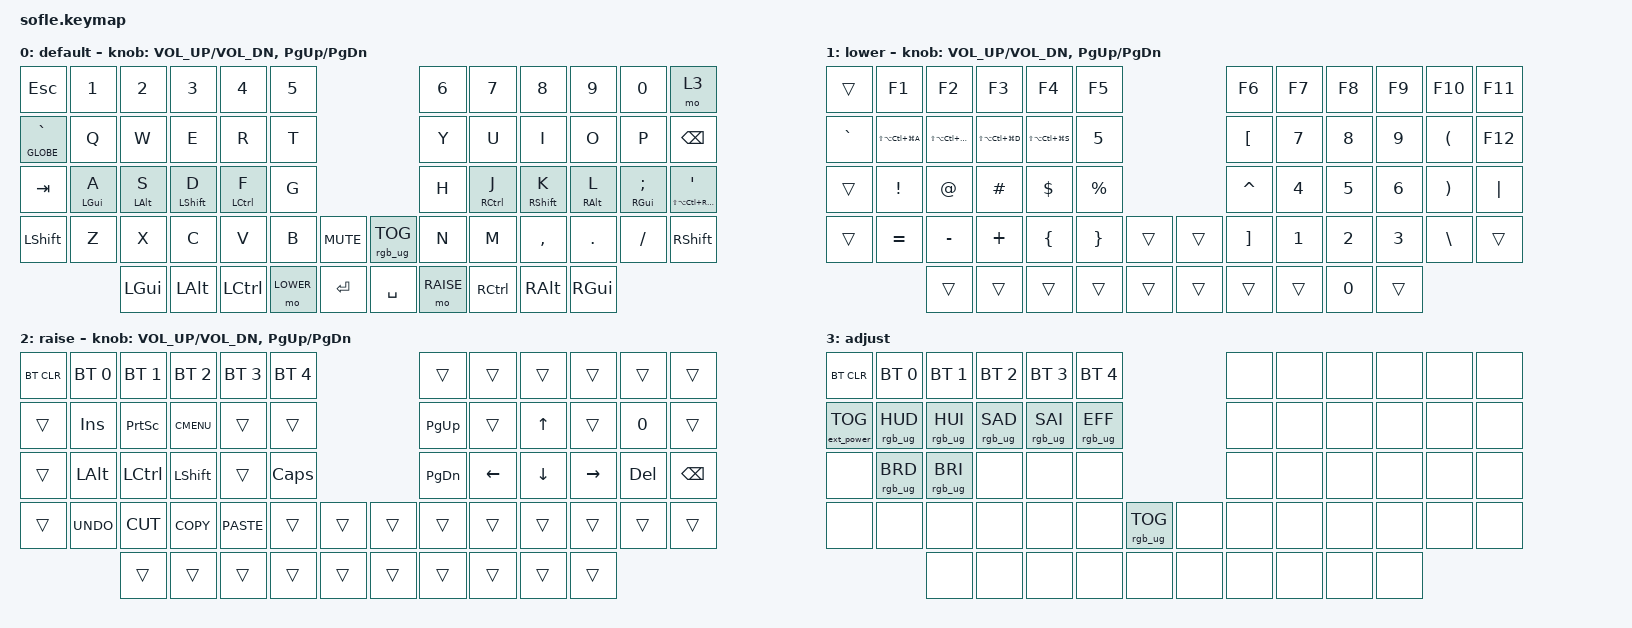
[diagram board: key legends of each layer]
/*
 * Copyright (c) 2020 The ZMK Contributors
 *
 * SPDX-License-Identifier: MIT
 */

#include <behaviors.dtsi>
#include <dt-bindings/zmk/bt.h>
#include <dt-bindings/zmk/ext_power.h>
#include <dt-bindings/zmk/keys.h>
#include <dt-bindings/zmk/rgb.h>

#define BASE 0
#define LOWER 1
#define RAISE 2
#define ADJUST 3

/ {
    // Add this behaviors block here (around line 19)              

    behaviors {
        mt: mod_tap {
            compatible = "zmk,behavior-hold-tap";
            #binding-cells = <2>;
            flavor = "tap-preferred";
            tapping-term-ms = <300>;
            bindings = <&kp>, <&kp>;
        };
    };

    // Activate ADJUST layer by pressing raise and lower

    conditional_layers {
        compatible = "zmk,conditional-layers";

        adjust_layer {
            if-layers = <LOWER RAISE>;
            then-layer = <ADJUST>;
        };
    };

    combos {
        compatible = "zmk,combos";

        minus {
            bindings = <&kp EQUAL>;
            key-positions = <29 30>;
        };

        equals {
            bindings = <&kp TILDE>;
            key-positions = <41 44>;
        };

        colon {
            bindings = <&kp COLON>;
            key-positions = <17 18>;
        };
    };

    keymap {
        compatible = "zmk,keymap";

        default_layer {
            display-name = "default";

            // ------------------------------------------------------------------------------------------------------------
            // |   `   |  1  |  2  |  3   |  4   |  5   |                   |  6   |  7    |  8    |  9   |   0   |       |
            // |  ESC  |  Q  |  W  |  E   |  R   |  T   |                   |  Y   |  U    |  I    |  O   |   P   | BKSPC |
            // |  TAB  |  A  |  S  |  D   |  F   |  G   |                   |  H   |  J    |  K    |  L   |   ;   |   '   |
            // | SHIFT |  Z  |  X  |  C   |  V   |  B   |  MUTE  |  |       |  N   |  M    |  ,    |  .   |   /   | SHIFT |
            //               | GUI | ALT  | CTRL | LOWER|  ENTER |  | SPACE | RAISE| CTRL  | ALT   | GUI  |

            bindings = <
&kp ESCAPE       &kp N1          &kp N2          &kp N3            &kp N4       &kp N5                                    &kp N6     &kp N7       &kp N8             &kp N9           &kp N0              &mo 3
&mt GLOBE GRAVE  &kp Q           &kp W           &kp E             &kp R        &kp T                                     &kp Y      &kp U        &kp I              &kp O            &kp P               &kp BSPC
&kp TAB          &mt LEFT_GUI A  &mt LEFT_ALT S  &mt LEFT_SHIFT D  &mt LCTRL F  &kp G                                     &kp H      &mt RCTRL J  &mt RIGHT_SHIFT K  &mt RIGHT_ALT L  &mt RIGHT_GUI SEMI  &mt LS(LA(LC(RIGHT_GUI))) APOS
&kp LSHFT        &kp Z           &kp X           &kp C             &kp V        &kp B      &kp C_MUTE    &rgb_ug RGB_TOG  &kp N      &kp M        &kp COMMA          &kp DOT          &kp FSLH            &kp RSHFT
                                 &kp LGUI        &kp LALT          &kp LCTRL    &mo LOWER  &kp RET       &kp SPACE        &mo RAISE  &kp RCTRL    &kp RALT           &kp RGUI
            >;

            sensor-bindings = <&inc_dec_kp C_VOL_UP C_VOL_DN &inc_dec_kp PG_UP PG_DN>;
        };

        lower_layer {
            display-name = "lower";

            // TODO: Some binds are waiting for shifted keycode support.
            // ------------------------------------------------------------------------------------------------------------
            // |       |  F1 |  F2 |  F3  |  F4  |  F5  |                   |  F6  |  F7   |  F8   |  F9  |  F10  |  F11  |
            // |   `   |  1  |  2  |  3   |  4   |  5   |                   |  6   |  7    |  8    |  9   |   0   |  F12  |
            // |       |  !  |  @  |  #   |  $   |  %   |                   |  ^   |  &    |  *    |  (   |   )   |   |   |
            // |       |  =  |  -  |  +   |  {   |  }   |        |  |       |  [   |  ]    |  ;    |  :   |   \   |       |
            //               |     |      |      |      |        |  |       |      |       |       |      |

            bindings = <
&trans     &kp F1                 &kp F2                 &kp F3                 &kp F4                 &kp F5                       &kp F6             &kp F7        &kp F8        &kp F9        &kp F10               &kp F11
&kp GRAVE  &kp LS(LA(LC(LG(A))))  &kp LS(LA(LC(LG(O))))  &kp LS(LA(LC(LG(D))))  &kp LS(LA(LC(LG(S))))  &kp N5                       &kp LEFT_BRACKET   &kp N7        &kp N8        &kp N9        &kp LEFT_PARENTHESIS  &kp F12
&trans     &kp EXCL               &kp AT                 &kp HASH               &kp DLLR               &kp PRCNT                    &kp CARET          &kp NUMBER_4  &kp N5        &kp NUMBER_6  &kp RPAR              &kp PIPE
&trans     &kp EQUAL              &kp MINUS              &kp PLUS               &kp LBRC               &kp RBRC   &trans    &trans  &kp RIGHT_BRACKET  &kp NUMBER_1  &kp NUMBER_2  &kp NUMBER_3  &kp BSLH              &trans
                                  &trans                 &trans                 &trans                 &trans     &trans    &trans  &trans             &trans        &kp N0        &trans
            >;

            sensor-bindings = <&inc_dec_kp C_VOL_UP C_VOL_DN &inc_dec_kp PG_UP PG_DN>;
        };

        raise_layer {
            display-name = "raise";

            // ------------------------------------------------------------------------------------------------------------
            // | BTCLR | BT1  | BT2  |  BT3  |  BT4  |  BT5 |                |      |      |       |      |       |       |
            // |       | INS  | PSCR | GUI   |       |      |                | PGUP |      |   ^   |      |       |       |
            // |       | ALT  | CTRL | SHIFT |       | CAPS |                | PGDN |   <- |   v   |  ->  |  DEL  | BKSPC |
            // |       | UNDO | CUT  | COPY  | PASTE |      |      |  |      |      |      |       |      |       |       |
            //                |      |       |       |      |      |  |      |      |      |       |      |

            bindings = <
&bt BT_CLR  &bt BT_SEL 0  &bt BT_SEL 1  &bt BT_SEL 2  &bt BT_SEL 3  &bt BT_SEL 4                    &trans     &trans    &trans    &trans     &trans   &trans
&trans      &kp INS       &kp PSCRN     &kp K_CMENU   &trans        &trans                          &kp PG_UP  &trans    &kp UP    &trans     &kp N0   &trans
&trans      &kp LALT      &kp LCTRL     &kp LSHFT     &trans        &kp CLCK                        &kp PG_DN  &kp LEFT  &kp DOWN  &kp RIGHT  &kp DEL  &kp BSPC
&trans      &kp K_UNDO    &kp K_CUT     &kp K_COPY    &kp K_PASTE   &trans        &trans    &trans  &trans     &trans    &trans    &trans     &trans   &trans
                          &trans        &trans        &trans        &trans        &trans    &trans  &trans     &trans    &trans    &trans
            >;

            sensor-bindings = <&inc_dec_kp C_VOL_UP C_VOL_DN &inc_dec_kp PG_UP PG_DN>;
        };

        adjust_layer {
            // ----------------------------------------------------------------------------------------------------------------------------
            // | BTCLR  |  BT1    |  BT2    |   BT3   |   BT4   |   BT5   |                  |      |      |       |      |       |       |
            // | EXTPWR | RGB_HUD | RGB_HUI | RGB_SAD | RGB_SAI | RGB_EFF |                  |      |      |       |      |       |       |
            // |        | RGB_BRD | RGB_BRI |         |         |         |                  |      |      |       |      |       |       |
            // |        |         |         |         |         |         | RGB_TOG | |      |      |      |       |      |       |       |
            //                    |         |         |         |         |         | |      |      |      |       |      |

            display-name = "adjust";
            bindings = <
&bt BT_CLR         &bt BT_SEL 0     &bt BT_SEL 1     &bt BT_SEL 2     &bt BT_SEL 3     &bt BT_SEL 4                               &none  &none  &none  &none  &none  &none
&ext_power EP_TOG  &rgb_ug RGB_HUD  &rgb_ug RGB_HUI  &rgb_ug RGB_SAD  &rgb_ug RGB_SAI  &rgb_ug RGB_EFF                            &none  &none  &none  &none  &none  &none
&none              &rgb_ug RGB_BRD  &rgb_ug RGB_BRI  &none            &none            &none                                      &none  &none  &none  &none  &none  &none
&none              &none            &none            &none            &none            &none            &rgb_ug RGB_TOG    &none  &none  &none  &none  &none  &none  &none
                                    &none            &none            &none            &none            &none              &none  &none  &none  &none  &none
            >;
        };
    };
};
